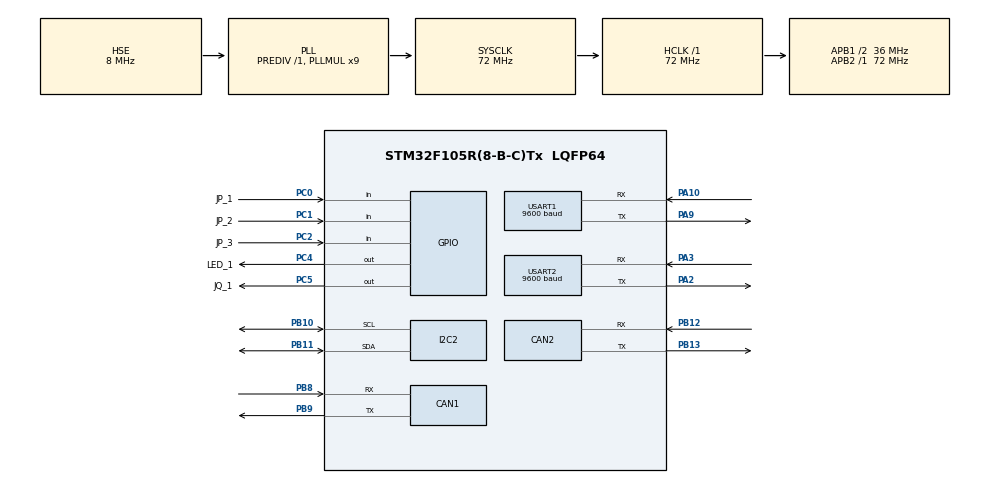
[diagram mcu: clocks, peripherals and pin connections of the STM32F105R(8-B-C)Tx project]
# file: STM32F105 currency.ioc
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CAN1.BS1=CAN_BS1_5TQ
CAN1.BS2=CAN_BS2_3TQ
CAN1.CalculateTimeBit=3999.99
CAN1.CalculateTimeQuantum=444.44444444444446
CAN2.BS1=CAN_BS1_5TQ
CAN2.BS2=CAN_BS2_3TQ
CAN2.CalculateTimeBit=3999.99
CAN2.CalculateTimeQuantum=444.44444444444446
I2C2.I2C_Mode=I2C_Fast
Mcu.Family=STM32F1
Mcu.Name=STM32F105R(8-B-C)Tx
Mcu.Package=LQFP64
NVIC.CAN1_RX0_IRQn=true\:3\:1\:true\:false\:true\:true\:true
NVIC.CAN2_RX0_IRQn=true\:3\:1\:true\:false\:true\:true\:true
NVIC.PriorityGroup=NVIC_PRIORITYGROUP_2
NVIC.TIM2_IRQn=true\:2\:0\:true\:false\:true\:true\:true
NVIC.TIM3_IRQn=true\:2\:0\:true\:false\:true\:true\:true
NVIC.TIM4_IRQn=true\:2\:0\:true\:false\:true\:true\:true
NVIC.TIM5_IRQn=true\:2\:0\:true\:false\:true\:true\:true
NVIC.TIM6_IRQn=true\:2\:0\:true\:false\:true\:true\:true
NVIC.USART1_IRQn=true\:1\:1\:true\:false\:true\:true\:true
NVIC.USART2_IRQn=true\:1\:1\:true\:false\:true\:true\:true
PA10.Mode=Asynchronous
PA10.Signal=USART1_RX
PA13.Mode=Serial_Wire
PA13.Signal=SYS_JTMS-SWDIO
PA14.Mode=Serial_Wire
PA14.Signal=SYS_JTCK-SWCLK
PA2.Mode=Asynchronous
PA2.Signal=USART2_TX
PA3.Mode=Asynchronous
PA3.Signal=USART2_RX
PA9.Mode=Asynchronous
PA9.Signal=USART1_TX
PB10.Mode=I2C
PB10.Signal=I2C2_SCL
PB11.Mode=I2C
PB11.Signal=I2C2_SDA
PB12.Mode=Slave
PB12.Signal=CAN2_RX
PB13.Mode=Slave
PB13.Signal=CAN2_TX
PB8.Mode=Master
PB8.Signal=CAN1_RX
PB9.Mode=Master
PB9.Signal=CAN1_TX
PC0.GPIO_Label=JP_1
PC0.Signal=GPIO_Input
PC1.GPIO_Label=JP_2
PC1.Signal=GPIO_Input
PC14-OSC32_IN.Mode=LSE-External-Oscillator
PC14-OSC32_IN.Signal=RCC_OSC32_IN
PC15-OSC32_OUT.Mode=LSE-External-Oscillator
PC15-OSC32_OUT.Signal=RCC_OSC32_OUT
PC2.GPIO_Label=JP_3
PC2.Signal=GPIO_Input
PC4.GPIO_Label=LED_1
PC4.GPIO_ModeDefaultOutputPP=GPIO_MODE_OUTPUT_PP
PC4.Signal=GPIO_Output
PC5.GPIO_Label=JQ_1
PC5.Signal=GPIO_Output
PD0-OSC_IN.Mode=HSE-External-Oscillator
PD0-OSC_IN.Signal=RCC_OSC_IN
PD1-OSC_OUT.Mode=HSE-External-Oscillator
PD1-OSC_OUT.Signal=RCC_OSC_OUT
ProjectManager.HeapSize=0x200
ProjectManager.StackSize=0x400
ProjectManager.TargetToolchain=MDK-ARM V5
RCC.AHBFreq_Value=72000000
RCC.APB1CLKDivider=RCC_HCLK_DIV2
RCC.APB1Freq_Value=36000000
RCC.APB1TimFreq_Value=72000000
RCC.APB2Freq_Value=72000000
RCC.APB2TimFreq_Value=72000000
RCC.HCLKFreq_Value=72000000
RCC.PLLMUL=RCC_PLL_MUL9
RCC.PLLSourceVirtual=RCC_PLLSOURCE_HSE
RCC.SYSCLKFreq_VALUE=72000000
RCC.SYSCLKSource=RCC_SYSCLKSOURCE_PLLCLK
RCC.USBFreq_Value=48000000
TIM2.AutoReloadPreload=TIM_AUTORELOAD_PRELOAD_ENABLE
TIM2.Period=999
TIM2.Prescaler=7199
TIM3.AutoReloadPreload=TIM_AUTORELOAD_PRELOAD_ENABLE
TIM3.CounterMode=TIM_COUNTERMODE_DOWN
TIM3.Period=9999
TIM3.Prescaler=7199
TIM4.AutoReloadPreload=TIM_AUTORELOAD_PRELOAD_ENABLE
TIM4.Period=19999
TIM4.Prescaler=7200-1
TIM5.AutoReloadPreload=TIM_AUTORELOAD_PRELOAD_ENABLE
TIM5.Period=4999
TIM5.Prescaler=7199
TIM6.AutoReloadPreload=TIM_AUTORELOAD_PRELOAD_ENABLE
TIM6.Period=9999
TIM6.Prescaler=2399
USART1.BaudRate=9600
USART1.VirtualMode=VM_ASYNC
USART2.BaudRate=9600
USART2.VirtualMode=VM_ASYNC
VP_TIM2_VS_ClockSourceINT.Mode=Internal
VP_TIM3_VS_ClockSourceINT.Mode=Internal
VP_TIM4_VS_ClockSourceINT.Mode=Internal
VP_TIM5_VS_ClockSourceINT.Mode=Internal
VP_TIM6_VS_ClockSourceINT.Mode=Enable_Timer
board=Long Key Can I2c

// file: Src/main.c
/**
  ******************************************************************************
  * @file           : main.c
  * @brief          : Main program body
  ******************************************************************************
  ** This notice applies to any and all portions of this file
  * that are not between comment pairs USER CODE BEGIN and
  * USER CODE END. Other portions of this file, whether
  * inserted by the user or by software development tools
  * are owned by their respective copyright owners.
  *
  * COPYRIGHT(c) 2022 STMicroelectronics
  *
  * Redistribution and use in source and binary forms, with or without modification,
  * are permitted provided that the following conditions are met:
  *   1. Redistributions of source code must retain the above copyright notice,
  *      this list of conditions and the following disclaimer.
  *   2. Redistributions in binary form must reproduce the above copyright notice,
  *      this list of conditions and the following disclaimer in the documentation
  *      and/or other materials provided with the distribution.
  *   3. Neither the name of STMicroelectronics nor the names of its contributors
  *      may be used to endorse or promote products derived from this software
  *      without specific prior written permission.
  *
  * THIS SOFTWARE IS PROVIDED BY THE COPYRIGHT HOLDERS AND CONTRIBUTORS "AS IS"
  * AND ANY EXPRESS OR IMPLIED WARRANTIES, INCLUDING, BUT NOT LIMITED TO, THE
  * IMPLIED WARRANTIES OF MERCHANTABILITY AND FITNESS FOR A PARTICULAR PURPOSE ARE
  * DISCLAIMED. IN NO EVENT SHALL THE COPYRIGHT HOLDER OR CONTRIBUTORS BE LIABLE
  * FOR ANY DIRECT, INDIRECT, INCIDENTAL, SPECIAL, EXEMPLARY, OR CONSEQUENTIAL
  * DAMAGES (INCLUDING, BUT NOT LIMITED TO, PROCUREMENT OF SUBSTITUTE GOODS OR
  * SERVICES; LOSS OF USE, DATA, OR PROFITS; OR BUSINESS INTERRUPTION) HOWEVER
  * CAUSED AND ON ANY THEORY OF LIABILITY, WHETHER IN CONTRACT, STRICT LIABILITY,
  * OR TORT (INCLUDING NEGLIGENCE OR OTHERWISE) ARISING IN ANY WAY OUT OF THE USE
  * OF THIS SOFTWARE, EVEN IF ADVISED OF THE POSSIBILITY OF SUCH DAMAGE.
  *
  ******************************************************************************
  */
#include "main.h"
#include "stm32f1xx_hal.h"
#include "can.h"
#include "i2c.h"
#include "tim.h"
#include "usart.h"
#include "gpio.h"

/* USER CODE BEGIN Includes */
#include <string.h>
/* USER CODE END Includes */

/* USER CODE BEGIN PV */
/* Private variables ---------------------------------------------------------*/
uint8_t hello[] = "hello world!\r\n";//串口测试用
char DataBuff[30] = {0};
uint8_t RxBuff;
uint8_t RxLine=0;           //接收到的数据长度
uint8_t Rx_flag=0;					//接受到数据标志
char DataBuff_1[30] = {0};
uint8_t RxBuff_1;
uint8_t RxLine_1=0;           //接收到的数据长度
uint8_t Rx_flag_1=0;					//接受到数据标志

#define       CAN_SEND_DATA_ID501 	  	(0x00000501)//锁车、解锁
//一级锁车 First level locking{0x46, 0x69, 0x72, 0x73, 0x74, 0x20, 0x6C, 0x65, 0x76, 0x65, 0x6C, 0x20, 0x6C, 0x6F, 0x63, 0x6B, 0x69, 0x6E, 0x67}
char 	  			UART_RrcvDataBuf_1        []= "First level locking";
uint8_t				CAN_TecvDataBuf_1         [8] = {0x00, 0x03, 0x01, 0x00, 0x00, 0x00, 0x00, 0x00};//一级锁车
//二级锁车 Secondary locking{0x53, 0x65, 0x63, 0x6F, 0x6E, 0x64, 0x61, 0x72, 0x79, 0x20, 0x6C, 0x6F, 0x63, 0x6B, 0x69, 0x6E, 0x67}
char   		   UART_RrcvDataBuf_2        []= "Secondary locking";
uint8_t				CAN_TecvDataBuf_2         [8] = {0x00, 0x03, 0x02, 0x00, 0x00, 0x00, 0x00, 0x00};//二级锁车
//解除锁车 Release the lock{0x52, 0x65, 0x6C, 0x65, 0x61, 0x73, 0x65, 0x20, 0x74, 0x68, 0x65, 0x20, 0x6C, 0x6F, 0x63, 0x6B}
char			  	UART_RrcvDataBuf_UN       []= "Release the lock";
uint8_t				CAN_TecvDataBuf_UN        [8] = {0x00, 0x06, 0x00, 0x00, 0x00, 0x00, 0x00, 0x00};//解锁

#define       CAN_SEND_DATA_ID504			  (0x00000504)//锁车、解锁反馈
uint8_t				CAN_RecvDataBuf_2_return  [8] = {0x00, 0x05, 0x02, 0x00, 0x00, 0x00, 0x00, 0x00};//二级锁车反馈
uint8_t				CAN_RecvDataBuf_1_return  [8] = {0x00, 0x05, 0x01, 0x00, 0x00, 0x00, 0x00, 0x00};//一级锁车反馈
uint8_t				CAN_RecvDataBuf_UN_return [8] = {0x00, 0x08, 0x00, 0x00, 0x00, 0x00, 0x00, 0x00};//解锁反馈

#define       CAN_SEND_DATA_ID502		  	(0x00000502)//关闭、打开GPS监控
//开启监控 Turn on monitoring { 0x54, 0x75, 0x72, 0x6E, 0x20, 0x6F, 0x6E, 0x20, 0x6D, 0x6F, 0x6E, 0x69, 0x74, 0x6F, 0x72, 0x69, 0x6E, 0x67}
char			  	UART_RrcvDataBuf_ON_gps   []= "Turn on monitoring";
uint8_t				CAN_TecvDataBuf_ON_gps    [8] = {0x02, 0x06, 0x02, 0x00, 0x00, 0x00, 0x00, 0x00};//打开GPS
//关闭监控 Turn off monitoring { 0x54, 0x75, 0x72, 0x6E, 0x20, 0x6F, 0x66, 0x66, 0x20, 0x6D, 0x6F, 0x6E, 0x69, 0x74, 0x6F, 0x72, 0x69, 0x6E, 0x67}
char					UART_RrcvDataBuf_OFF_gps  []= "Turn off monitoring";
uint8_t				CAN_TecvDataBuf_OFF_gps   [8] = {0x01, 0x04, 0x01, 0x00, 0x00, 0x00, 0x00, 0x00};//关闭GPS

#define       CAN_SEND_DATA_ID503			  (0x00000503)//关闭、打开GPS反馈
uint8_t				CAN_RecvDataBuf_ON_return [8] = {0x02, 0x03, 0x05, 0x00, 0x00, 0x00, 0x00, 0x00};//打开GPS反馈
uint8_t				CAN_RecvDataBuf_OFF_return[8] = {0x01, 0x02, 0x03, 0x00, 0x00, 0x00, 0x00, 0x00};//关闭GPS反馈

char					UART_RrcvDataBuf_Run   []= "LC:AE457467\r\n";//开启跑表功能
char					UART_RrcvDataBuf_Stop  []= "LC:AE45786B\r\n";//关闭跑表功能
char					UART_RrcvDataBuf_Run1  []= "LC:E9157472\r\n";//开启跑表功能
char					UART_RrcvDataBuf_Stop1 []= "LC:E9157876\r\n";//关闭跑表功能
uint8_t can_1=0;
uint8_t can_2=0;
uint8_t can_UN=0;
uint8_t can_ON=0;
uint8_t can_OFF=0;

/* USER CODE END PV */

void SystemClock_Config(void);

/* USER CODE BEGIN PFP */
/* Private function prototypes -----------------------------------------------*/

/* USER CODE END PFP */

int main(void)
{

  /* MCU Configuration----------------------------------------------------------*/

  /* Reset of all peripherals, Initializes the Flash interface and the Systick. */
  HAL_Init();

  /* Configure the system clock */
  SystemClock_Config();

  /* Initialize all configured peripherals */
  MX_GPIO_Init();
  MX_CAN1_Init();
  MX_CAN2_Init();
  MX_USART1_UART_Init();
  MX_TIM3_Init();
  MX_I2C2_Init();
  MX_USART2_UART_Init();
  MX_TIM2_Init();
  MX_TIM4_Init();
  MX_TIM5_Init();
  MX_TIM6_Init();
  /* USER CODE BEGIN 2 */
	CAN_Confing();
	HAL_UART_Receive_IT(&huart1, &RxBuff, 1); //打开串口中断接收
	HAL_UART_Receive_IT(&huart2, &RxBuff_1, 1); //打开串口中断接收
	HAL_TIM_Base_Start_IT(&htim5);//开启指示灯定时器
	HAL_TIM_Base_Start_IT(&htim6);//开启串口缓冲时间定时器
  /* USER CODE END 2 */

  /* Infinite loop */
  /* USER CODE BEGIN WHILE */
  while (1)
  {
		HAL_Delay(400);
//		printf("微信公众号：果果小师弟\n");
		Data_buff_Comparison();
  /* USER CODE END WHILE */

  }

}

void SystemClock_Config(void)
{

  RCC_OscInitTypeDef RCC_OscInitStruct;
  RCC_ClkInitTypeDef RCC_ClkInitStruct;

    /**Initializes the CPU, AHB and APB busses clocks
    */
  RCC_OscInitStruct.OscillatorType = RCC_OSCILLATORTYPE_HSE;
  RCC_OscInitStruct.HSEState = RCC_HSE_ON;
  RCC_OscInitStruct.HSEPredivValue = RCC_HSE_PREDIV_DIV1;
  RCC_OscInitStruct.HSIState = RCC_HSI_ON;
  RCC_OscInitStruct.Prediv1Source = RCC_PREDIV1_SOURCE_HSE;
  RCC_OscInitStruct.PLL.PLLState = RCC_PLL_ON;
  RCC_OscInitStruct.PLL.PLLSource = RCC_PLLSOURCE_HSE;
  RCC_OscInitStruct.PLL.PLLMUL = RCC_PLL_MUL9;
  RCC_OscInitStruct.PLL2.PLL2State = RCC_PLL_NONE;
  if (HAL_RCC_OscConfig(&RCC_OscInitStruct) != HAL_OK)
  {
    _Error_Handler(__FILE__, __LINE__);
  }

    /**Initializes the CPU, AHB and APB busses clocks
    */
  RCC_ClkInitStruct.ClockType = RCC_CLOCKTYPE_HCLK|RCC_CLOCKTYPE_SYSCLK
                              |RCC_CLOCKTYPE_PCLK1|RCC_CLOCKTYPE_PCLK2;
  RCC_ClkInitStruct.SYSCLKSource = RCC_SYSCLKSOURCE_PLLCLK;
  RCC_ClkInitStruct.AHBCLKDivider = RCC_SYSCLK_DIV1;
  RCC_ClkInitStruct.APB1CLKDivider = RCC_HCLK_DIV2;
  RCC_ClkInitStruct.APB2CLKDivider = RCC_HCLK_DIV1;

  if (HAL_RCC_ClockConfig(&RCC_ClkInitStruct, FLASH_LATENCY_2) != HAL_OK)
  {
    _Error_Handler(__FILE__, __LINE__);
  }

    /**Configure the Systick interrupt time
    */
  HAL_SYSTICK_Config(HAL_RCC_GetHCLKFreq()/1000);

    /**Configure the Systick
    */
  HAL_SYSTICK_CLKSourceConfig(SYSTICK_CLKSOURCE_HCLK);

    /**Configure the Systick interrupt time
    */
  __HAL_RCC_PLLI2S_ENABLE();

  /* SysTick_IRQn interrupt configuration */
  HAL_NVIC_SetPriority(SysTick_IRQn, 0, 0);
}

/* USER CODE BEGIN 4 */
/***
  * 函数功能: CAN中断转发服务函数
  * 输入参数: CAN_HandleTypeDef* hcan
  * 返 回 值: 无
  * 说    明: 无
  */
void HAL_CAN_RxCpltCallback(CAN_HandleTypeDef* hcan)
{
	//CAN1转发到CAN2端口
	if(hcan==&hcan1)//判断是否CAN1收到消息
		{
			if(hcan->pRxMsg->ExtId==0x00000504)
				{
					if((hcan->pRxMsg->Data[1]==0x05)&&(hcan->pRxMsg->Data[2]==0x01))
					{
						can_1=2;
						__HAL_TIM_SET_AUTORELOAD(&htim5, 4999);
					}
				}

			if(hcan->pRxMsg->ExtId==0x00000504)
			{
				if((hcan->pRxMsg->Data[1]==0x05)&&(hcan->pRxMsg->Data[2]==0x02))
				{
					can_2=3;
					__HAL_TIM_SET_AUTORELOAD(&htim5, 4999);
				}
			}
			if(hcan->pRxMsg->ExtId==0x00000504)
			{
				if((hcan->pRxMsg->Data[1]==0x08)&&(hcan->pRxMsg->Data[2]==0x00))
				{
					can_UN=4;
					__HAL_TIM_SET_AUTORELOAD(&htim5, 4999);
				}
			}
			if(hcan->pRxMsg->ExtId==0x00000503)
			{
				if((hcan->pRxMsg->Data[1]==0x02)&&(hcan->pRxMsg->Data[2]==0x03))
				{
					can_OFF=5;
					__HAL_TIM_SET_AUTORELOAD(&htim5, 4999);
				}
			}
			if(hcan->pRxMsg->ExtId==0x00000503)
			{
				if((hcan->pRxMsg->Data[1]==0x03)&&(hcan->pRxMsg->Data[2]==0x05))
				{
					can_ON=6;
					__HAL_TIM_SET_AUTORELOAD(&htim5, 4999);
				}
			}

		}
	//CAN2转发到CAN1端口
	if(hcan==&hcan2)//如果CAN2收到数据
		{
			if(hcan->pRxMsg->ExtId==0x00000504)
				{
					if((hcan->pRxMsg->Data[1]==0x05)&&(hcan->pRxMsg->Data[2]==0x01))
					{
						can_1=2;
						__HAL_TIM_SET_AUTORELOAD(&htim5, 4999);
					}
				}

			if(hcan->pRxMsg->ExtId==0x00000504)
			{
				if((hcan->pRxMsg->Data[1]==0x05)&&(hcan->pRxMsg->Data[2]==0x02))
				{
					can_2=3;
					__HAL_TIM_SET_AUTORELOAD(&htim5, 4999);
				}
			}
			if(hcan->pRxMsg->ExtId==0x00000504)
			{
				if((hcan->pRxMsg->Data[1]==0x08)&&(hcan->pRxMsg->Data[2]==0x00))
				{
					can_UN=4;
					__HAL_TIM_SET_AUTORELOAD(&htim5, 4999);
				}
			}
			if(hcan->pRxMsg->ExtId==0x00000503)
			{
				if((hcan->pRxMsg->Data[1]==0x02)&&(hcan->pRxMsg->Data[2]==0x03))
				{
					can_OFF=5;
					__HAL_TIM_SET_AUTORELOAD(&htim5, 4999);
				}
			}
			if(hcan->pRxMsg->ExtId==0x00000503)
			{
				if((hcan->pRxMsg->Data[1]==0x03)&&(hcan->pRxMsg->Data[2]==0x05))
				{
					can_ON=6;
					__HAL_TIM_SET_AUTORELOAD(&htim5, 4999);
				}
			}
		}
}

//DataBuff数据对比函数
void Data_buff_Comparison(void )
{
	if(strcmp(DataBuff_1, UART_RrcvDataBuf_1) == 0)//一级锁车
	{
		while (can_1 <2)
		{
			hcan1.pTxMsg->ExtId =CAN_SEND_DATA_ID502;
			for(uint8_t i=0;i<8;i++)//8次循环将CAN1收到的数据赋值给CAN2
			{hcan1.pTxMsg->Data[i] =CAN_TecvDataBuf_1[i];}
			HAL_CAN_Transmit(&hcan1, 10);//CAN2发送数据
			__HAL_CAN_ENABLE_IT(&hcan1,CAN_IT_FMP0);//重新开启FIF00消息挂号中断

			hcan2.pTxMsg->ExtId =CAN_SEND_DATA_ID502;
			for(uint8_t i=0;i<8;i++)//8次循环将CAN1收到的数据赋值给CAN2
			{hcan2.pTxMsg->Data[i] =CAN_TecvDataBuf_1[i];}
			HAL_CAN_Transmit(&hcan2, 10);//CAN2发送数据
			__HAL_CAN_ENABLE_IT(&hcan2,CAN_IT_FMP0);//重新开启FIF00消息挂号中断

			__HAL_TIM_SET_AUTORELOAD(&htim5, 999);
			HAL_Delay (100);
		}
	}
	if (strcmp(DataBuff_1, UART_RrcvDataBuf_2) == 0)//一级锁车
	{
		while (can_2<3)
		{
			hcan1.pTxMsg->ExtId =CAN_SEND_DATA_ID501;
			for(uint8_t i=0;i<8;i++)//8次循环将CAN1收到的数据赋值给CAN2
			{hcan1.pTxMsg->Data[i] =CAN_TecvDataBuf_2[i];}
			HAL_CAN_Transmit(&hcan1, 10);//CAN2发送数据
			__HAL_CAN_ENABLE_IT(&hcan1,CAN_IT_FMP0);//重新开启FIF00消息挂号中断

			hcan2.pTxMsg->ExtId =CAN_SEND_DATA_ID501;
			for(uint8_t i=0;i<8;i++)//8次循环将CAN1收到的数据赋值给CAN2
			{hcan2.pTxMsg->Data[i] =CAN_TecvDataBuf_2[i];}
			HAL_CAN_Transmit(&hcan2, 10);//CAN2发送数据
			__HAL_CAN_ENABLE_IT(&hcan2,CAN_IT_FMP0);//重新开启FIF00消息挂号中断

			__HAL_TIM_SET_AUTORELOAD(&htim5, 999);
			HAL_Delay (100);
		}
	}
	if (strcmp(DataBuff_1, UART_RrcvDataBuf_UN) == 0)//解锁
	{
		while (can_UN<4)
		{
			hcan1.pTxMsg->ExtId =CAN_SEND_DATA_ID501;
			for(uint8_t i=0;i<8;i++)//8次循环将CAN1收到的数据赋值给CAN2
			{hcan1.pTxMsg->Data[i] =CAN_TecvDataBuf_UN[i];}
			HAL_CAN_Transmit(&hcan1, 10);//CAN2发送数据
			__HAL_CAN_ENABLE_IT(&hcan1,CAN_IT_FMP0);//重新开启FIF00消息挂号中断

			hcan2.pTxMsg->ExtId =CAN_SEND_DATA_ID501;
			for(uint8_t i=0;i<8;i++)//8次循环将CAN1收到的数据赋值给CAN2
			{hcan2.pTxMsg->Data[i] =CAN_TecvDataBuf_UN[i];}
			HAL_CAN_Transmit(&hcan2, 10);//CAN2发送数据
			__HAL_CAN_ENABLE_IT(&hcan2,CAN_IT_FMP0);//重新开启FIF00消息挂号中断

			__HAL_TIM_SET_AUTORELOAD(&htim5, 999);
			HAL_Delay (100);
		}
	}
	if (strcmp(DataBuff_1, UART_RrcvDataBuf_ON_gps) == 0)//打开GPS
	{
		while (can_ON<6)
		{
			hcan1.pTxMsg->ExtId =CAN_SEND_DATA_ID502;
			for(uint8_t i=0;i<8;i++)//8次循环将CAN1收到的数据赋值给CAN2
			{hcan1.pTxMsg->Data[i] =CAN_TecvDataBuf_ON_gps[i];}
			HAL_CAN_Transmit(&hcan1, 10);//CAN2发送数据
			__HAL_CAN_ENABLE_IT(&hcan1,CAN_IT_FMP0);//重新开启FIF00消息挂号中断

			hcan2.pTxMsg->ExtId =CAN_SEND_DATA_ID502;
			for(uint8_t i=0;i<8;i++)//8次循环将CAN1收到的数据赋值给CAN2
			{hcan2.pTxMsg->Data[i] =CAN_TecvDataBuf_ON_gps[i];}
			HAL_CAN_Transmit(&hcan2, 10);//CAN2发送数据
			__HAL_CAN_ENABLE_IT(&hcan2,CAN_IT_FMP0);//重新开启FIF00消息挂号中断

			__HAL_TIM_SET_AUTORELOAD(&htim5, 999);
			HAL_Delay (100);
		}
	}
	if (strcmp(DataBuff_1, UART_RrcvDataBuf_OFF_gps) == 0)//关闭GPS
	{
		while (can_OFF<5)
		{
			hcan1.pTxMsg->ExtId =CAN_SEND_DATA_ID502;
			for(uint8_t i=0;i<8;i++)//8次循环将CAN1收到的数据赋值给CAN2
			{hcan1.pTxMsg->Data[i] =CAN_TecvDataBuf_OFF_gps[i];}
			HAL_CAN_Transmit(&hcan1, 10);//CAN2发送数据
			__HAL_CAN_ENABLE_IT(&hcan1,CAN_IT_FMP0);//重新开启FIF00消息挂号中断

			hcan2.pTxMsg->ExtId =CAN_SEND_DATA_ID502;
			for(uint8_t i=0;i<8;i++)//8次循环将CAN1收到的数据赋值给CAN2
			{hcan2.pTxMsg->Data[i] =CAN_TecvDataBuf_OFF_gps[i];}
			HAL_CAN_Transmit(&hcan2, 10);//CAN2发送数据
			__HAL_CAN_ENABLE_IT(&hcan2,CAN_IT_FMP0);//重新开启FIF00消息挂号中断

			__HAL_TIM_SET_AUTORELOAD(&htim5, 999);
			HAL_Delay (100);
		}
	}
	if (strcmp(DataBuff, UART_RrcvDataBuf_Run) == 0||strcmp(DataBuff, UART_RrcvDataBuf_Run1) == 0)//开启跑表功能
	{
    HAL_TIM_Base_Start_IT(&htim2);
    HAL_TIM_Base_Start_IT(&htim3);
    HAL_TIM_Base_Start_IT(&htim4);
		__HAL_TIM_SET_AUTORELOAD(&htim5, 4999);
		HAL_GPIO_WritePin(GPIOC, JQ_1_Pin,GPIO_PIN_SET);
	}
	if (strcmp(DataBuff, UART_RrcvDataBuf_Stop) == 0||strcmp(DataBuff, UART_RrcvDataBuf_Stop1) == 0)//开启跑表功能
	{
		HAL_TIM_Base_Stop_IT(&htim2);
    HAL_TIM_Base_Stop_IT(&htim3);
    HAL_TIM_Base_Stop_IT(&htim4);
		__HAL_TIM_SET_AUTORELOAD(&htim5, 9999);
		HAL_GPIO_WritePin(GPIOC, JQ_1_Pin,GPIO_PIN_RESET);
	}
//	HAL_Delay(1000);
  memset(DataBuff,0,sizeof(DataBuff));  //清空缓存数组
	memset(DataBuff_1,0,sizeof(DataBuff_1));  //清空缓存数组
	RxLine=0;	RxLine_1=0;
	can_1=0;can_2=0;can_UN=0;can_ON=0;can_OFF=0;
}

/* USER CODE END 4 */

void _Error_Handler(char *file, int line)
{
  while(1)
  {
  }
}

/************************ (C) COPYRIGHT STMicroelectronics *****END OF FILE****/
